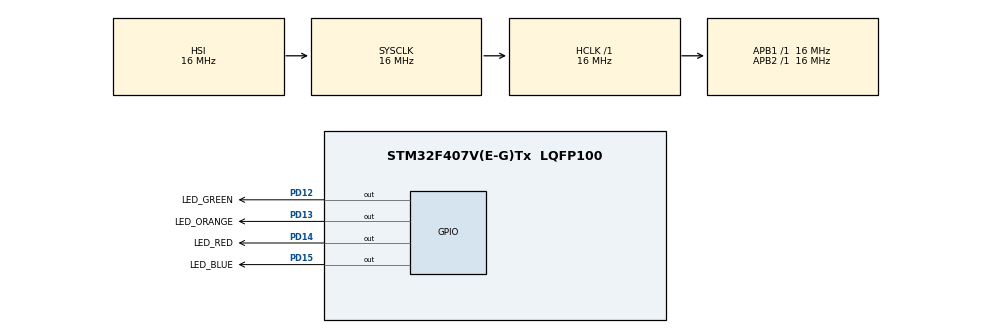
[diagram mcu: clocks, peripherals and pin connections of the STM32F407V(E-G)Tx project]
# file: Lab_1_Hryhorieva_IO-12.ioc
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Mcu.Family=STM32F4
Mcu.Name=STM32F407V(E-G)Tx
Mcu.Package=LQFP100
NVIC.PriorityGroup=NVIC_PRIORITYGROUP_4
PD12.GPIO_Label=LED_GREEN
PD12.Signal=GPIO_Output
PD13.GPIO_Label=LED_ORANGE
PD13.Signal=GPIO_Output
PD14.GPIO_Label=LED_RED
PD14.Signal=GPIO_Output
PD15.GPIO_Label=LED_BLUE
PD15.Signal=GPIO_Output
ProjectManager.HeapSize=0x200
ProjectManager.StackSize=0x400
ProjectManager.TargetToolchain=STM32CubeIDE
RCC.AHBFreq_Value=16000000
RCC.APB1Freq_Value=16000000
RCC.APB2Freq_Value=16000000
RCC.CortexFreq_Value=16000000
RCC.HSE_VALUE=25000000
RCC.HSI_VALUE=16000000
RCC.LSE_VALUE=32768
RCC.SYSCLKFreq_VALUE=16000000
RCC.VCOOutputFreq_Value=192000000
board=custom

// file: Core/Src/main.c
/* USER CODE BEGIN Header */
/**
  ******************************************************************************
  * @file           : main.c
  * @brief          : Main program body
  ******************************************************************************
  * @attention
  *
  * Copyright (c) 2024 STMicroelectronics.
  * All rights reserved.
  *
  * This software is licensed under terms that can be found in the LICENSE file
  * in the root directory of this software component.
  * If no LICENSE file comes with this software, it is provided AS-IS.
  *
  ******************************************************************************
  */
/* USER CODE END Header */
#include "main.h"

/* USER CODE BEGIN PD */

#define LED_SWITCH_DELAY	(1000)

/* USER CODE END PD */

/* USER CODE BEGIN PV */

unsigned int ledN = 0;

/* USER CODE END PV */

void SystemClock_Config(void);
static void MX_GPIO_Init(void);

int main(void)
{

  /* MCU Configuration--------------------------------------------------------*/

  /* Reset of all peripherals, Initializes the Flash interface and the Systick. */
  HAL_Init();

  /* Configure the system clock */
  SystemClock_Config();

  /* Initialize all configured peripherals */
  MX_GPIO_Init();

  /* Infinite loop */
  /* USER CODE BEGIN WHILE */
  while (1)
  {
	  // Blink LED based on the pattern: red, all, blue, blue, all, green, green, green, all, orange, orange, orange, orange, all
	  for (int i = ledN; i < 4; i++) {
		  if (ledN == 0) {
			  for (int j = 0; j < ledN + 1; j++) {
			    HAL_GPIO_WritePin(LED_RED_GPIO_Port, LED_RED_Pin, GPIO_PIN_SET);
			    HAL_Delay(LED_SWITCH_DELAY);
			    HAL_GPIO_WritePin(LED_RED_GPIO_Port, LED_RED_Pin, GPIO_PIN_RESET);
			    HAL_Delay(LED_SWITCH_DELAY);
			  }
		  }

		  else if (ledN == 1) {
			  for (int j = 0; j < ledN + 1; j++) {
				 HAL_GPIO_WritePin(LED_BLUE_GPIO_Port, LED_BLUE_Pin, GPIO_PIN_SET);
				 HAL_Delay(LED_SWITCH_DELAY);
				 HAL_GPIO_WritePin(LED_BLUE_GPIO_Port, LED_BLUE_Pin, GPIO_PIN_RESET);
				 HAL_Delay(LED_SWITCH_DELAY);
			  }
		  }

		  else if (ledN == 2) {
			  for (int j = 0; j < ledN + 1; j++) {
				 HAL_GPIO_WritePin(LED_GREEN_GPIO_Port, LED_GREEN_Pin, GPIO_PIN_SET);
				 HAL_Delay(LED_SWITCH_DELAY);
				 HAL_GPIO_WritePin(LED_GREEN_GPIO_Port, LED_GREEN_Pin, GPIO_PIN_RESET);
				 HAL_Delay(LED_SWITCH_DELAY);
			  }
		  }

		  else if (ledN == 3) {
			  for (int j = 0; j < ledN + 1; j++) {
				 HAL_GPIO_WritePin(LED_ORANGE_GPIO_Port, LED_ORANGE_Pin, GPIO_PIN_SET);
				 HAL_Delay(LED_SWITCH_DELAY);
				 HAL_GPIO_WritePin(LED_ORANGE_GPIO_Port, LED_ORANGE_Pin, GPIO_PIN_RESET);
				 HAL_Delay(LED_SWITCH_DELAY);
			  }
		  }

		  // Turn on all LEDs simultaneously
		  HAL_GPIO_WritePin(LED_RED_GPIO_Port, LED_RED_Pin, GPIO_PIN_SET);
		  HAL_GPIO_WritePin(LED_BLUE_GPIO_Port, LED_BLUE_Pin, GPIO_PIN_SET);
		  HAL_GPIO_WritePin(LED_GREEN_GPIO_Port, LED_GREEN_Pin, GPIO_PIN_SET);
		  HAL_GPIO_WritePin(LED_ORANGE_GPIO_Port, LED_ORANGE_Pin, GPIO_PIN_SET);

		  HAL_Delay(LED_SWITCH_DELAY);

		  // Turn off all LEDs simultaneously
		  HAL_GPIO_WritePin(LED_RED_GPIO_Port, LED_RED_Pin, GPIO_PIN_RESET);
		  HAL_GPIO_WritePin(LED_BLUE_GPIO_Port, LED_BLUE_Pin, GPIO_PIN_RESET);
		  HAL_GPIO_WritePin(LED_GREEN_GPIO_Port, LED_GREEN_Pin, GPIO_PIN_RESET);
		  HAL_GPIO_WritePin(LED_ORANGE_GPIO_Port, LED_ORANGE_Pin, GPIO_PIN_RESET);

		  HAL_Delay(LED_SWITCH_DELAY);

		  // Change LED number
		  ledN++;
	  }

	  ledN = 0;

      /* USER CODE END WHILE */

  }
}

void SystemClock_Config(void)
{
  RCC_OscInitTypeDef RCC_OscInitStruct = {0};
  RCC_ClkInitTypeDef RCC_ClkInitStruct = {0};

  /** Configure the main internal regulator output voltage
  */
  __HAL_RCC_PWR_CLK_ENABLE();
  __HAL_PWR_VOLTAGESCALING_CONFIG(PWR_REGULATOR_VOLTAGE_SCALE1);

  /** Initializes the RCC Oscillators according to the specified parameters
  * in the RCC_OscInitTypeDef structure.
  */
  RCC_OscInitStruct.OscillatorType = RCC_OSCILLATORTYPE_HSI;
  RCC_OscInitStruct.HSIState = RCC_HSI_ON;
  RCC_OscInitStruct.HSICalibrationValue = RCC_HSICALIBRATION_DEFAULT;
  RCC_OscInitStruct.PLL.PLLState = RCC_PLL_NONE;
  if (HAL_RCC_OscConfig(&RCC_OscInitStruct) != HAL_OK)
  {
    Error_Handler();
  }

  /** Initializes the CPU, AHB and APB buses clocks
  */
  RCC_ClkInitStruct.ClockType = RCC_CLOCKTYPE_HCLK|RCC_CLOCKTYPE_SYSCLK
                              |RCC_CLOCKTYPE_PCLK1|RCC_CLOCKTYPE_PCLK2;
  RCC_ClkInitStruct.SYSCLKSource = RCC_SYSCLKSOURCE_HSI;
  RCC_ClkInitStruct.AHBCLKDivider = RCC_SYSCLK_DIV1;
  RCC_ClkInitStruct.APB1CLKDivider = RCC_HCLK_DIV1;
  RCC_ClkInitStruct.APB2CLKDivider = RCC_HCLK_DIV1;

  if (HAL_RCC_ClockConfig(&RCC_ClkInitStruct, FLASH_LATENCY_0) != HAL_OK)
  {
    Error_Handler();
  }
}

static void MX_GPIO_Init(void)
{
  GPIO_InitTypeDef GPIO_InitStruct = {0};

  /* GPIO Ports Clock Enable */
  __HAL_RCC_GPIOD_CLK_ENABLE();

  /*Configure GPIO pin Output Level */
  HAL_GPIO_WritePin(GPIOD, LED_GREEN_Pin|LED_ORANGE_Pin|LED_RED_Pin|LED_BLUE_Pin, GPIO_PIN_RESET);

  /*Configure GPIO pins : LED_GREEN_Pin LED_ORANGE_Pin LED_RED_Pin LED_BLUE_Pin */
  GPIO_InitStruct.Pin = LED_GREEN_Pin|LED_ORANGE_Pin|LED_RED_Pin|LED_BLUE_Pin;
  GPIO_InitStruct.Mode = GPIO_MODE_OUTPUT_PP;
  GPIO_InitStruct.Pull = GPIO_NOPULL;
  GPIO_InitStruct.Speed = GPIO_SPEED_FREQ_LOW;
  HAL_GPIO_Init(GPIOD, &GPIO_InitStruct);

}

void Error_Handler(void)
{
  __disable_irq();
  while (1)
  {
  }
}
